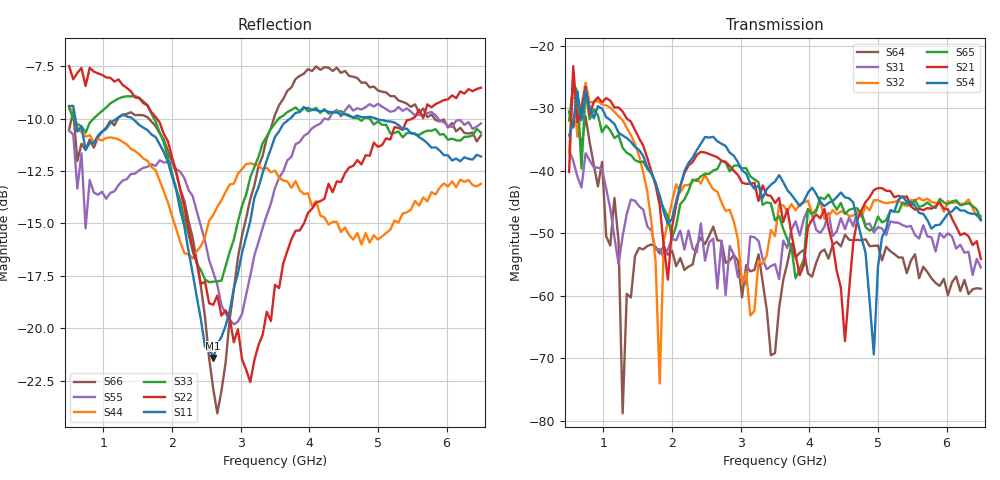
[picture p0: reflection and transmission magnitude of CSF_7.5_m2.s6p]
!Keysight Technologies,M9804A,MY58100912,A.14.10.03
!Date: Thursday, April 27, 2023 10:28:33
!Correction: S11(C  6-Port  )
!S12(C  6-Port  )
!S13(C  6-Port  )
!S14(C  6-Port  )
!S15(C  6-Port  )
!S16(C  6-Port  )
!S21(C  6-Port  )
!S22(C  6-Port  )
!S23(C  6-Port  )
!S24(C  6-Port  )
!S25(C  6-Port  )
!S26(C  6-Port  )
!S31(C  6-Port  )
!S32(C  6-Port  )
!S33(C  6-Port  )
!S34(C  6-Port  )
!S35(C  6-Port  )
!S36(C  6-Port  )
!S41(C  6-Port  )
!S42(C  6-Port  )
!S43(C  6-Port  )
!S44(C  6-Port  )
!S45(C  6-Port  )
!S46(C  6-Port  )
!S51(C  6-Port  )
!S52(C  6-Port  )
!S53(C  6-Port  )
!S54(C  6-Port  )
!S55(C  6-Port  )
!S56(C  6-Port  )
!S61(C  6-Port  )
!S62(C  6-Port  )
!S63(C  6-Port  )
!S64(C  6-Port  )
!S65(C  6-Port  )
!S66(C  6-Port  )
!S6P File: Measurement: :
# Hz S  RI  R 50
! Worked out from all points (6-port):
!   101 points, 500 MHz to 6.5 GHz, reference 50 ohm
!   strongest paths, dB at 500 MHz, 2 GHz, 3.5 GHz, 5 GHz, 6.5 GHz:
!     S54: -34.4, -47.7, -41.8, -55.4, -48.0
!     S21: -40.2, -49.1, -45.2, -42.8, -54.1
!     S65: -32.0, -50.8, -48.0, -47.3, -47.7
!     S32: -37.3, -45.0, -50.5, -44.8, -47.3
!     S31: -36.8, -50.9, -55.0, -49.0, -55.5
!     S64: -30.5, -52.8, -69.2, -52.0, -58.9
!   lowest |S11| = -21.4 dB at 2.6 GHz (marker M1), VSWR 1.19, Z = 42.5 + j2.24 ohm
!   |S11| at or under -10 dB: 590.3 MHz to 1.189 GHz (598.8 MHz wide, 67.3 % of centre); 1.424 GHz to 3.715 GHz (2.29 GHz wide, 89.1 % of centre); 4.975 GHz to end of sweep
